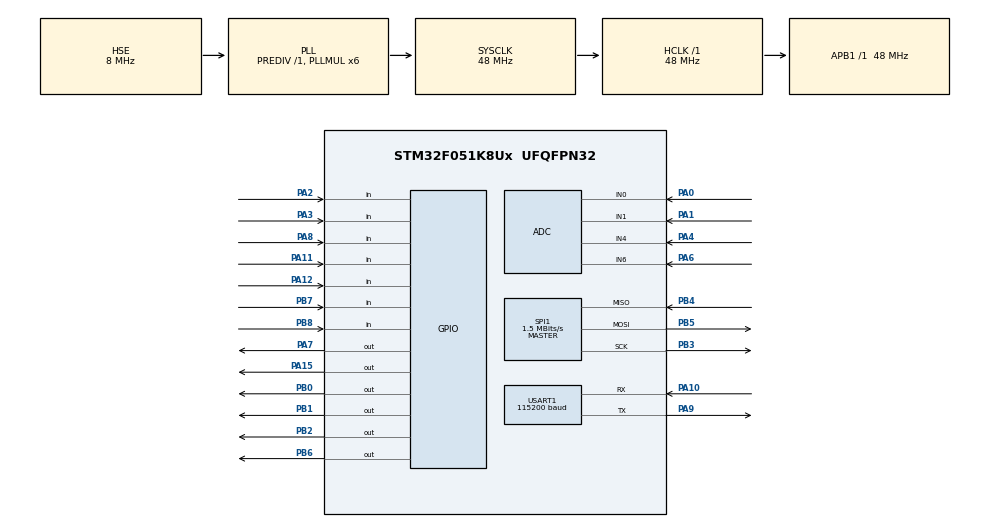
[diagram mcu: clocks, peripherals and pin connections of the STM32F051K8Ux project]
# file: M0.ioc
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Dma.Request0=USART1_RX
Dma.USART1_RX.0.Direction=DMA_PERIPH_TO_MEMORY
Dma.USART1_RX.0.Instance=DMA1_Channel3
Dma.USART1_RX.0.MemDataAlignment=DMA_MDATAALIGN_BYTE
Dma.USART1_RX.0.MemInc=DMA_MINC_ENABLE
Dma.USART1_RX.0.Mode=DMA_NORMAL
Dma.USART1_RX.0.PeriphDataAlignment=DMA_PDATAALIGN_BYTE
Dma.USART1_RX.0.PeriphInc=DMA_PINC_DISABLE
Dma.USART1_RX.0.Priority=DMA_PRIORITY_LOW
Mcu.Family=STM32F0
Mcu.Name=STM32F051K8Ux
Mcu.Package=UFQFPN32
NVIC.DMA1_Channel2_3_IRQn=true\:0\:0\:false\:false\:true\:false\:true
PA0.Mode=IN0
PA0.Signal=ADC_IN0
PA1.Mode=IN1
PA1.Signal=ADC_IN1
PA10.Mode=Asynchronous
PA10.Signal=USART1_RX
PA11.Signal=GPIO_Input
PA12.Signal=GPIO_Input
PA13.Mode=Serial_Wire
PA13.Signal=SYS_SWDIO
PA14.Mode=Serial_Wire
PA14.Signal=SYS_SWCLK
PA15.Signal=GPIO_Output
PA2.Signal=GPIO_Input
PA3.Signal=GPIO_Input
PA4.Mode=IN4
PA4.Signal=ADC_IN4
PA6.Mode=IN6
PA6.Signal=ADC_IN6
PA7.Signal=GPIO_Output
PA8.Signal=GPIO_Input
PA9.Mode=Asynchronous
PA9.Signal=USART1_TX
PB0.Signal=GPIO_Output
PB1.Signal=GPIO_Output
PB2.Signal=GPIO_Output
PB3.Mode=Full_Duplex_Master
PB3.Signal=SPI1_SCK
PB4.Mode=Full_Duplex_Master
PB4.Signal=SPI1_MISO
PB5.Mode=Full_Duplex_Master
PB5.Signal=SPI1_MOSI
PB6.Signal=GPIO_Output
PB7.Signal=GPIO_Input
PB8.Signal=GPIO_Input
PF0-OSC_IN.Mode=HSE-External-Oscillator
PF0-OSC_IN.Signal=RCC_OSC_IN
PF1-OSC_OUT.Mode=HSE-External-Oscillator
PF1-OSC_OUT.Signal=RCC_OSC_OUT
ProjectManager.HeapSize=0x200
ProjectManager.StackSize=0x400
ProjectManager.TargetToolchain=EWARM V8.32
RCC.AHBFreq_Value=48000000
RCC.APB1Freq_Value=48000000
RCC.APB1TimFreq_Value=48000000
RCC.HCLKFreq_Value=48000000
RCC.PLLMUL=RCC_PLL_MUL6
RCC.PLLSourceVirtual=RCC_PLLSOURCE_HSE
RCC.SYSCLKFreq_VALUE=48000000
RCC.SYSCLKSource=RCC_SYSCLKSOURCE_PLLCLK
SPI1.BaudRatePrescaler=SPI_BAUDRATEPRESCALER_32
SPI1.CalculateBaudRate=1.5 MBits/s
SPI1.DataSize=SPI_DATASIZE_8BIT
SPI1.Direction=SPI_DIRECTION_2LINES
SPI1.Mode=SPI_MODE_MASTER
SPI1.VirtualType=VM_MASTER
USART1.BaudRate=115200
USART1.VirtualMode-Asynchronous=VM_ASYNC
board=custom

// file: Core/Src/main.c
/* USER CODE BEGIN Header */
/**
  ******************************************************************************
  * @file           : main.c
  * @brief          : Main program body
  ******************************************************************************
  * @attention
  *
  * <h2><center>&copy; Copyright (c) 2021 STMicroelectronics.
  * All rights reserved.</center></h2>
  *
  * This software component is licensed by ST under BSD 3-Clause license,
  * the "License"; You may not use this file except in compliance with the
  * License. You may obtain a copy of the License at:
  *                        opensource.org/licenses/BSD-3-Clause
  *
  ******************************************************************************
  */
/* USER CODE END Header */
#include "main.h"
#include "adc.h"
#include "dma.h"
#include "spi.h"
#include "usart.h"
#include "gpio.h"
#include <stdio.h>
#include "lcd.h"
#include "led.h"
#include "logo.h"
#include "radio.h"
#include "string.h"

//sx1278
#include "platform.h"
#include "sx1276-Hal.h"
#include "sx12xxEiger.h"
#include "sx1276-LoRa.h"
#include "sx1276-LoRaMisc.h"

#define BUFFERSIZE 4

uint8_t PingMsg[] = "PING";
uint8_t PangMsg[] = "PANG";

uint16_t BufferSize = BUFFERSIZE;
uint8_t Buffer[BUFFERSIZE];

#ifdef MASTER
uint8_t EnbleMaster = true;
#else
uint8_t EnbleMaster = false;
#endif

uint32_t Master_TxNumber = 0;
uint32_t Master_RxNumber = 0;

uint32_t Slave_TxNumber = 0;
uint32_t Slave_RxNumber = 0;

tRadioDriver *Radio = NULL;

void SystemClock_Config(void);

/* USER CODE BEGIN 0 */

//主机显示任务
void MLCD_Show(void){
  uint8_t str[20] = {0};

  LCD_GPIO_Init();    //LCD初始化

  sprintf((char*)str,"%d",Master_RxNumber);        //将接收的内容显示出来
  Gui_DrawFont_GBK16(64,48,BLACK,YELLOW,str);
  memset((char*)str,0,strlen((const char*)str));  //申请新的内存初始化

  sprintf((char*)str,"%d",Master_TxNumber);        //将发送的东西显示出来
  Gui_DrawFont_GBK16(64,64,BLACK,YELLOW,str);

  //SPI初始化
  HAL_SPI_DeInit(&hspi1);
  MX_SPI1_Init();
}

//从机显示任务
void SLCD_Show(void){
  uint8_t str[20] = {0};

  LCD_GPIO_Init();    //LCD初始化

  sprintf((char*)str,"%d",Slave_RxNumber);         //将接收的内容显示出来
  Gui_DrawFont_GBK16(64,48,BLACK,YELLOW,str);
  memset((char*)str,0,strlen((const char*)str));  //申请新的内存初始化

  sprintf((char*)str,"%d",Slave_TxNumber);         //将发送的东西显示出来
  Gui_DrawFont_GBK16(64,64,BLACK,YELLOW,str);

  //SPI初始化
  HAL_SPI_DeInit(&hspi1);
  MX_SPI1_Init();
}

//主机无线任务
void Master_Task(void){
  switch(Radio->Process()){       //无线任务处理进程判断
    case RF_RX_DONE:              //接收完成
      Radio->GetRxPacket(Buffer,&BufferSize);  //获取接收数据
      printf("Master_Task:RX______%s\n",Buffer);
      if(strncmp((const char*)Buffer,(const char*)PangMsg,strlen((const char*)PangMsg)) == 0){  //判断是否为Pang数据
        LedToggle(LED_RX);        //接收指示灯闪烁
        Master_RxNumber++;        //统计接收数据量
        Radio->SetTxPacket(PingMsg, strlen((const char*)PingMsg));  //发送Ping数据
      }
    break;
    case RF_TX_DONE:              //发送完成
      LedToggle(LED_TX);          //发送指示灯闪烁
      Master_TxNumber++;          //统计发送数据量
      Radio->StartRx();           //设置为接收状态
    break;
    default:
    break;
  }
}

//从机无线任务
void Slave_Task(void){
  switch(Radio->Process()){       //无线任务处理进程判断
    case RF_RX_DONE:              //接收完成
      Radio->GetRxPacket(Buffer,&BufferSize);  //获取接收数据
      printf("Slave_Task:RX______%s\n",Buffer);
      if(strncmp((const char*)Buffer,(const char*)PingMsg,strlen((const char*)PingMsg)) == 0){  //判断是否为Pang数据
        LedToggle(LED_RX);        //接收指示灯闪烁
        Slave_RxNumber++;         //统计接收数据量
        Radio->SetTxPacket(PingMsg, strlen((const char*)PangMsg));  //发送Ping数据
      }
    break;
    case RF_TX_DONE:             //发送完成
      LedToggle(LED_TX);         //发送指示灯闪烁
      Slave_TxNumber++;          //统计发送数据量
      Radio->StartRx();          //设置为接收状态
    break;
    default:
    break;
  }
}

/* USER CODE END 0 */

int main(void)
{
  /* USER CODE BEGIN 1 */

  uint8_t RegVersion = 0;

  /* USER CODE END 1 */

  /* MCU Configuration--------------------------------------------------------*/

  /* Reset of all peripherals, Initializes the Flash interface and the Systick. */
  HAL_Init();

  /* Configure the system clock */
  SystemClock_Config();

  /* Initialize all configured peripherals */
  MX_GPIO_Init();
  MX_DMA_Init();
  MX_ADC_Init();
  MX_USART1_UART_Init();
  MX_SPI1_Init();

  Lcd_Init();
  Lcd_Clear(YELLOW);

  //showimage(gImage_logo);
  HAL_Delay(500);
  Lcd_Clear(YELLOW);
  Gui_DrawFont_GBK16(0,0,RED,GREEN,"   LoRa Topology   ");
#ifdef MASTER
  Gui_DrawFont_GBK16(0,16,RED,GREEN,"      Master      ");
#else
  Gui_DrawFont_GBK16(0,16,RED,GREEN,"      Slave       ");
#endif

  Gui_DrawFont_GBK16(0,32,BLACK,YELLOW,"SSID:");
  Gui_DrawFont_GBK16(64,32,BLACK,YELLOW,"30");

  Gui_DrawFont_GBK16(0,48,BLACK,YELLOW,"RX:");

  Gui_DrawFont_GBK16(0,64,BLACK,YELLOW,"TX");

  //SPI初始化
  HAL_SPI_DeInit(&hspi1);
  MX_SPI1_Init();

  SX1276Read( REG_LR_VERSION, &RegVersion );

  if(RegVersion != 0x12)
  {
    printf("LoRa read Error!\r\n");
    printf("LoRa RegVersion = %d!\r\n",RegVersion);
  }
  else
  {
    printf("LoRa read OK!\r\n");
    printf("LoRa RegVersion = %d!\r\n",RegVersion);
  }

  Radio = RadioDriverInit();
  Radio->Init();

#ifdef MASTER
  Radio->SetTxPacket(PingMsg, strlen((const char*)PangMsg));  //发送Ping数据
  printf("I am Master!");
#else
  Radio->StartRx();  //开启接收
  printf("I am Salve!");
#endif

  printf("system init ok!");

  /* Infinite loop */
  while (1)
  {

    /* USER CODE BEGIN 3 */
    if(EnbleMaster == true){
      MLCD_Show();       //主机显示
      Master_Task();     //主机无线任务
    }
    else{
      SLCD_Show();       //从机显示
      Slave_Task();      //从机无线任务
    }
  }
  /* USER CODE END 3 */
}

void SystemClock_Config(void)
{
  RCC_OscInitTypeDef RCC_OscInitStruct = {0};
  RCC_ClkInitTypeDef RCC_ClkInitStruct = {0};
  RCC_PeriphCLKInitTypeDef PeriphClkInit = {0};

  /** Initializes the RCC Oscillators according to the specified parameters
  * in the RCC_OscInitTypeDef structure.
  */
  RCC_OscInitStruct.OscillatorType = RCC_OSCILLATORTYPE_HSI14|RCC_OSCILLATORTYPE_HSE;
  RCC_OscInitStruct.HSEState = RCC_HSE_ON;
  RCC_OscInitStruct.HSI14State = RCC_HSI14_ON;
  RCC_OscInitStruct.HSI14CalibrationValue = 16;
  RCC_OscInitStruct.PLL.PLLState = RCC_PLL_ON;
  RCC_OscInitStruct.PLL.PLLSource = RCC_PLLSOURCE_HSE;
  RCC_OscInitStruct.PLL.PLLMUL = RCC_PLL_MUL6;
  RCC_OscInitStruct.PLL.PREDIV = RCC_PREDIV_DIV1;
  if (HAL_RCC_OscConfig(&RCC_OscInitStruct) != HAL_OK)
  {
    Error_Handler();
  }
  /** Initializes the CPU, AHB and APB buses clocks
  */
  RCC_ClkInitStruct.ClockType = RCC_CLOCKTYPE_HCLK|RCC_CLOCKTYPE_SYSCLK
                              |RCC_CLOCKTYPE_PCLK1;
  RCC_ClkInitStruct.SYSCLKSource = RCC_SYSCLKSOURCE_PLLCLK;
  RCC_ClkInitStruct.AHBCLKDivider = RCC_SYSCLK_DIV1;
  RCC_ClkInitStruct.APB1CLKDivider = RCC_HCLK_DIV1;

  if (HAL_RCC_ClockConfig(&RCC_ClkInitStruct, FLASH_LATENCY_1) != HAL_OK)
  {
    Error_Handler();
  }
  PeriphClkInit.PeriphClockSelection = RCC_PERIPHCLK_USART1;
  PeriphClkInit.Usart1ClockSelection = RCC_USART1CLKSOURCE_PCLK1;
  if (HAL_RCCEx_PeriphCLKConfig(&PeriphClkInit) != HAL_OK)
  {
    Error_Handler();
  }
}

void Error_Handler(void)
{
  __disable_irq();
  while (1)
  {
  }
}

int fputc(int ch, FILE *f){
  while((USART1->ISR&0X40) == 0);
  USART1->TDR =(uint8_t)ch;
  return ch;
}

/************************ (C) COPYRIGHT STMicroelectronics *****END OF FILE****/
